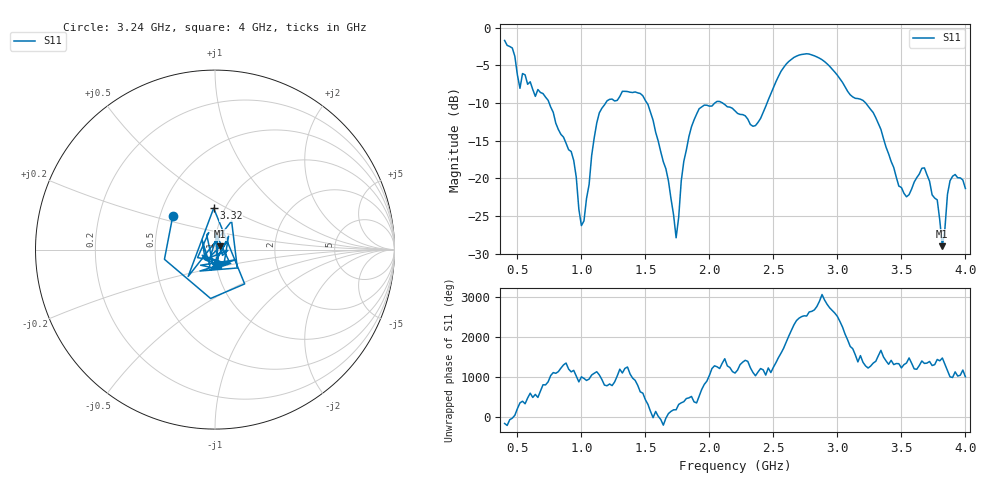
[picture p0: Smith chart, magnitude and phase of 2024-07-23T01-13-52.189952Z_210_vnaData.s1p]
!Created with skrf (http://scikit-rf.org).
# Hz S RI R 50.0
!freq ReS11 ImS11
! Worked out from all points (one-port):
!   181 points, 400 MHz to 4 GHz, reference 50 ohm
!   lowest |S11| = -29.0 dB at 3.82 GHz (marker M1), VSWR 1.07, Z = 53 + j2.03 ohm
!   |S11| at or under -10 dB: 748.4 MHz to 1.189 GHz (440.5 MHz wide, 45.5 % of centre); 1.513 GHz to 2.041 GHz (528.4 MHz wide, 29.7 % of centre); 3.222 GHz to end of sweep (the widest 3 of 4)
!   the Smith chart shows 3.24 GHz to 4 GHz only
!   S11 on the Smith chart (normalised r, x): 3.24 GHz: 0.58, +0.24; 3.32 GHz: 0.89, +0.43; 4 GHz: 1.02, -0.17
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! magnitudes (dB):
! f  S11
! 400 MHz  -1.7
! 460 MHz  -2.7
! 520 MHz  -8.0
! 700 MHz  -8.7
! 860 MHz  -14.5
! 940 MHz  -17.6
! 1 GHz  -26.3
! 1.14 GHz  -11.3
! 1.3 GHz  -9.1
! 1.52 GHz  -10.2
! 1.68 GHz  -20.3
! 1.74 GHz  -27.9
! 1.76 GHz  -25.2
! 1.8 GHz  -17.7
! 1.92 GHz  -10.7
! 2.2 GHz  -11.0
! 2.36 GHz  -13.0
! 2.66 GHz  -3.9
! 2.88 GHz  -4.2
! 3.1 GHz  -8.9
! 3.24 GHz  -10.4
! 3.32 GHz  -12.7
! 3.56 GHz  -22.2
! 3.68 GHz  -18.6
! 3.78 GHz  -22.9
! 3.82 GHz  -29.0
! 3.88 GHz  -20.3
! 4 GHz  -21.3
